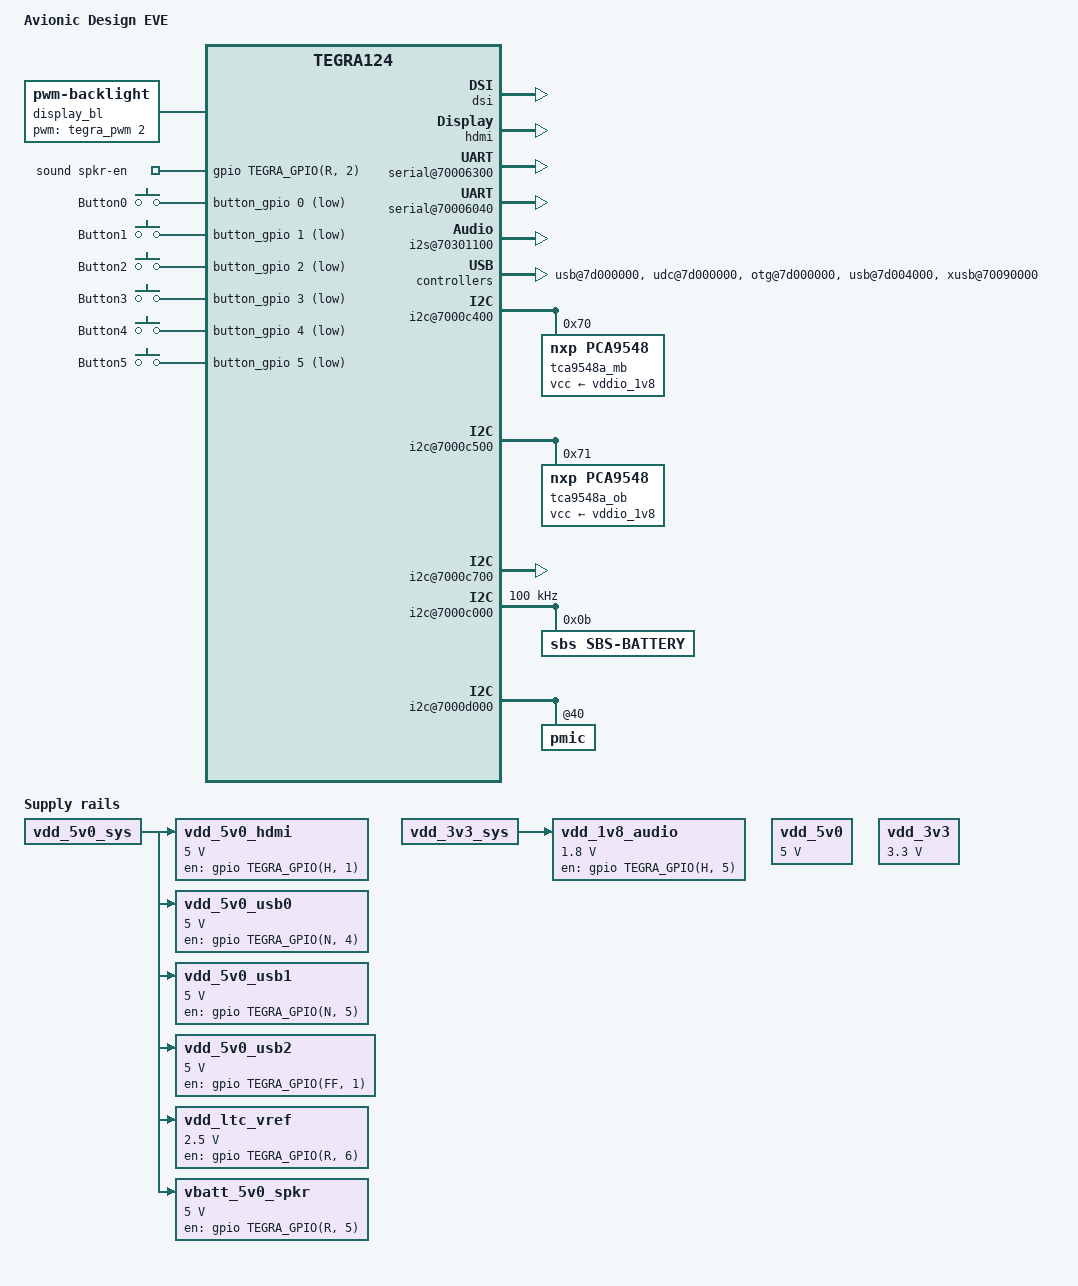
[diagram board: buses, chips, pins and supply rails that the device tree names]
/dts-v1/;

#include "tegra124-meerkat.dtsi"
#include "panel-tianma-tm057jdhp04-30.dtsi"

/ {
	model = "Avionic Design EVE";
	compatible = "ad,eve", "ad,meerkat", "nvidia,tegra124";
	nvidia,dtsfilename = __FILE__;

	aliases {
		i2c10 = &mbmux_0;
		i2c11 = &mbmux_1;
		i2c12 = &mbmux_2;
		i2c13 = &mbmux_3;
		i2c14 = &mbmux_4;
		i2c15 = &mbmux_5;
		i2c16 = &mbmux_6;
		i2c17 = &mbmux_7;
		i2c20 = &obmux_0;
		i2c21 = &obmux_1;
		i2c22 = &obmux_2;
		i2c23 = &obmux_3;
		i2c24 = &obmux_4;
		i2c25 = &obmux_5;
		i2c26 = &obmux_6;
		i2c27 = &obmux_7;
	};

	pinmux {
		common {
			/* display BL */
			ph2 {
				nvidia,function = "pwm2";
				nvidia,tristate = <TEGRA_PIN_DISABLE>;
			};
			/* display EN */
			ph3 {
				nvidia,pins = "ph3";
				nvidia,pull = <TEGRA_PIN_PULL_UP>;
				nvidia,tristate = <TEGRA_PIN_DISABLE>;
			};
			/* drdy gyro */
			pi2 {
				nvidia,enable-input = <TEGRA_PIN_ENABLE>;
				nvidia,pull = <TEGRA_PIN_PULL_DOWN>;
			};
			/* drdy accel */
			ph6 {
				nvidia,enable-input = <TEGRA_PIN_ENABLE>;
			};
			/* wm8903 ADCDAC */
			dap2_din_pa4 {
				nvidia,tristate = <TEGRA_PIN_DISABLE>;
			};
			/* wm8903 DACDAT */
			dap2_dout_pa5 {
				nvidia,tristate = <TEGRA_PIN_DISABLE>;
			};
			/* wm8903 LRC */
			dap2_fs_pa2 {
				nvidia,tristate = <TEGRA_PIN_DISABLE>;
			};
			/* wm8903 BCLK */
			dap2_sclk_pa3 {
				nvidia,tristate = <TEGRA_PIN_DISABLE>;
			};
			/* USB hub enable */
			usb_vbus_en1_pn5 {
				nvidia,open-drain = <TEGRA_PIN_DISABLE>;
			};
			/* uC ISP enable */
			dap1_dout_pn2 {
				nvidia,function = "safe";
			};
			/* uC reset */
			dap_mclk1_req_pee2 {
				nvidia,function = "safe";
			};

		};
	};

	display_bl: backlight {
		compatible = "pwm-backlight";
		pwms = <&tegra_pwm 2 1000000>;
		brightness-levels = <0 4 8 16 32 64 128 255>;
		default-brightness-level = <7>;
	};

	host1x {
		dc@54200000 {
			status = "okay";

			nvidia,dc-connection = "internal-lcd";
		};

		dsi {
			status = "okay";
			panel: panel-tianma-tm057jdhp04-30 {
				enable-gpios = <&gpio TEGRA_GPIO(H, 3) GPIO_ACTIVE_HIGH>,
						<&gpio TEGRA_GPIO(R, 4) GPIO_ACTIVE_HIGH>,
						<&gpio TEGRA_GPIO(J, 0) GPIO_ACTIVE_HIGH>;
				nvidia,dsi-te-gpio = <&gpio TEGRA_GPIO(J, 2) GPIO_ACTIVE_HIGH>;
				backlight = <&display_bl>;
			};
		};

		dc@54240000 {
			status = "okay";

			nvidia,dc-connection = "external-display";
			vdd_hdmi_5v0-supply = <&vdd_5v0_hdmi>;
		};

		hdmi {
			status = "okay";
			hdmi-display {
				disp-default-out {
					nvidia,out-parent-clk = "pll_d2";
				};
			};
		};
	};

	/* Debug UART */
	serial@70006300 {
		status = "okay";
	};

	/* uC UART */
	serial@70006040 {
		compatible = "nvidia,tegra114-hsuart", "nvidia,tegra30-hsuart";
		status = "okay";
	};

	ahub {
		status = "okay";
		i2s@70301100 {
			status = "okay";
		};
	};

	/* USB0: Recovery & OTG */
	usb@7d000000 {
		status = "okay";
		nvidia,port-otg;

		nvidia,remote-wakeup-supported;
		nvidia,power-off-on-suspend;

		nvidia,vbus-oc-map = <0x5>;
		usb_vbus-supply = <&vdd_5v0_usb0>;
	};

	udc@7d000000 {
		status = "okay";
		nvidia,port-otg;
		nvidia,has-host;

		usb_vbus-supply = <&vdd_5v0_usb0>;
	};

	otg@7d000000 {
		status = "okay";
		nvidia,ehci-device = <&tegra_ehci_0>;

		usb_vbus-supply = <&vdd_5v0_usb0>;
	};

	/* USB1 */
        usb@7d004000 {
		status = "okay";
		nvidia,power-off-on-suspend;
		usb_vbus-supply = <&vdd_5v0_usb1>;
        };

	/* USB2 */
	xusb@70090000 {
		nvidia,gpio_ss1_sata = <0>;
		nvidia,portmap = <(XUSB_MUX_USB2_P2 | XUSB_MUX_SS_P1)>;
		nvidia,ss_portmap = <XUSB_PADCTL_SS_PORTMAP(DISABLE, P2)>;
		nvidia,lane_owner = <2>; /* PCIe lane1 owner = USB3_SS port1 */
		nvidia,ulpicap = <0>;
		usb_vbus2-supply = <&vdd_5v0_usb2>;
		status = "okay";
	};

	/* I2C Gen2 */
	i2c@7000c400 {
		status = "okay";
		pull-ups-supply = <&vdd_3v3_sys>;

		tca9548a_mb: tca9548a@70 {
			compatible = "nxp,pca9548";
			#address-cells = <1>;
			#size-cells = <0>;
			reg = <0x70>;
			vcc-supply = <&vddio_1v8>;

			mbmux_0: port@0 {
				#address-cells = <1>;
				#size-cells = <0>;
				reg = <0>;
				pull-ups-supply = <&vdd_3v3_sys>;

				m24512: m24512@50 {
					compatible = "24c512";
					reg = <0x50>;
					pagesize = <128>;
				};
				m24512_id: m24512@58 {
					compatible = "24c01";
					reg = <0x58>;
					pagesize = <128>;
				};
			};

			mbmux_1: port@1 {
				#address-cells = <1>;
				#size-cells = <0>;
				reg = <1>;
				pull-ups-supply = <&vddio_1v8>;

				wm8903: wm8903@1a {
					compatible = "wlf,wm8903";
					reg = <0x1a>;
					interrupt-parent = <&gpio>;
					interrupts = <TEGRA_GPIO(U, 5) IRQ_TYPE_LEVEL_HIGH>;

					gpio-controller;
					#gpio-cells = <2>;

					micdet-cfg = <0>;
					micdet-delay = <100>;
					gpio-cfg = <0xffffffff
						    0xffffffff
						    0
						    0xffffffff
						    0xffffffff>;

					avdd-supply = <&vdd_1v8_audio>;
				};
			};

			mbmux_2: port@2 {
				#address-cells = <1>;
				#size-cells = <0>;
				reg = <2>;
				pull-ups-supply = <&vdd_5v0_sys>;

				ltc2617: ltc2617@10 {
					compatible = "linear,ltc2617";
					reg = <0x10>;
					vref-supply = <&vdd_ltc_vref>;
				};
			};

			mbmux_3: port@3 {
				#address-cells = <1>;
				#size-cells = <0>;
				reg = <3>;
			};

			mbmux_4: port@4 {
				#address-cells = <1>;
				#size-cells = <0>;
				reg = <4>;
			};

			mbmux_5: port@5 {
				#address-cells = <1>;
				#size-cells = <0>;
				reg = <5>;
			};

			mbmux_6: port@6 {
				#address-cells = <1>;
				#size-cells = <0>;
				reg = <6>;
			};

			mbmux_7: port@7 {
				#address-cells = <1>;
				#size-cells = <0>;
				reg = <7>;
			};
		};
	};

        /* I2C Cam / Optics */
        i2c@7000c500 {
                status = "okay";
		pull-ups-supply = <&vddio_1v8>;

                tca9548a_ob: tca9548a@71 {
                        compatible = "nxp,pca9548";
                        #address-cells = <1>;
                        #size-cells = <0>;
                        reg = <0x71>;
                        vcc-supply = <&vddio_1v8>;

			obmux_0: port@0 {
				#address-cells = <1>;
				#size-cells = <0>;
				reg = <0>;
				pull-ups-supply = <&vdd_3v3_sys>;

				optics_gpio: tca6424@23 {
					compatible = "ti,tca6424";
					reg = <0x23>;
					gpio-controller;
					#gpio-cells = <2>;
					interrupt-parent = <&gpio>;
					interrups = <TEGRA_GPIO(K, 4) IRQ_TYPE_LEVEL_LOW>;

					gpio-init-names = "optics_default";
					gpio-init-0 = <&optics_gpio_default>;
					optics_gpio_default: default {
						gpio-output-low = <8>; /* Disable dam buster */
					};
				};
			};

			obmux_1: port@1 {
				#address-cells = <1>;
				#size-cells = <0>;
				reg = <1>;
			};

			obmux_2: port@2 {
				#address-cells = <1>;
				#size-cells = <0>;
				reg = <2>;
			};

			obmux_3: port@3 {
				#address-cells = <1>;
				#size-cells = <0>;
				reg = <3>;
				pull-ups-supply = <&vdd_5v0_sys>;
			};

			obmux_4: port@4 {
				#address-cells = <1>;
				#size-cells = <0>;
				reg = <4>;
				pull-ups-supply = <&vdd_3v3_sys>;

				button_gpio: tca6408@20 {
					compatible = "ti,tca6408";
					reg = <0x20>;
					gpio-controller;
					#gpio-cells = <2>;
					interrupt-parent = <&gpio>;
					interrupts = <TEGRA_GPIO(K, 3) IRQ_TYPE_LEVEL_LOW>;
				};
			};

			obmux_5: port@5 {
				#address-cells = <1>;
				#size-cells = <0>;
				reg = <5>;
			};

			obmux_6: port@6 {
				#address-cells = <1>;
				#size-cells = <0>;
				reg = <6>;
			};

			obmux_7: port@7 {
				#address-cells = <1>;
				#size-cells = <0>;
				reg = <7>;
			};
		};
	};

	/* HDMI DDC */
	i2c@7000c700 {
		status = "okay";
		pull-ups-supply = <&vdd_3v3_sys>;
	};

	/* Gen1 I2C / SMBus */
	i2c@7000c000 {
		status = "okay";
		pull-ups-supply = <&vdd_3v3_sys>;
		clock-frequency = <100000>;

		sbs@0b {
			compatible = "sbs,sbs-battery";
			reg = <0xb>;
			sbs,i2c-retry-count = <2>;
			sbs,poll-retry-count = <10>;
		};
	};


	i2c@7000d000 {
		pmic@40 {
			ams,backup-battery-chargable;
			ams,battery-backup-charge-voltage = <AS3722_BBVOLT_3_0V>;
			ams,battery-backup-charge-current = <AS3722_BBCCUR_50UA>;
			ams,battery-backup-enable-bypass;
			ams,battery-backup-charge-mode = <AS3722_BBCMODE_ACT_STBY_OFF>;
		};
	};

	hda@70030000 {
		status = "okay";
	};

	avp-audio {
		compatible = "nvidia,tegra124-avp-audio", "nvidia,tegra30-avp-audio";
	};

	audio-offload {
		compatible = "nvidia,tegra-offload";
	};

	sound {
		compatible = "ad,tegra-audio-wm8903-medcom-wide",
			     "nvidia,tegra-audio-wm8903";
		nvidia,model = "Avionic Design Meerkat WM8903";

		nvidia,audio-routing =
			"Headphone Jack", "HPOUTR",
			"Headphone Jack", "HPOUTL",
			"Int Spk", "ROP",
			"Int Spk", "RON",
			"Int Spk", "LOP",
			"Int Spk", "LON",
			"Mic Jack", "MICBIAS",
			"IN1L", "Mic Jack";

		nvidia,spkr-en-gpios = <&gpio TEGRA_GPIO(R, 2) GPIO_ACTIVE_HIGH>;
		spkr-supply = <&vbatt_5v0_spkr>;
		nvidia,memory-clients = <14>;
		nvidia,i2s-controller = <&tegra_i2s1>;
		nvidia,i2s-is-master;
		nvidia,audio-codec = <&wm8903>;
	};

	gpio: gpio@6000d000 {
		gpio-init-names = "default";
		gpio-init-0 = <&gpio_default>;
		gpio_default: default {
			gpio-output-low = <TEGRA_GPIO(N, 2)>,	/* Disable UC_ISP_EN# */
					  <TEGRA_GPIO(EE, 2)>,	/* Disable UC_RESET# */
					  <TEGRA_GPIO(K, 5)>;	/* Disable TK_GPIO0 (Laser) */
		};
	};

	pwm-fan {
		status = "okay";
		pwms = <&tegra_pwm 0 40000>;
		cooling-levels = <0>, <48>, <128>, <255>;
	};

	gpio-keys {
		compatible = "gpio-keys";
		button0 {
			label = "Button0";
			linux,code = <KEY_F1>;
			debounce-interval = <5>;
			gpios = <&button_gpio 0 GPIO_ACTIVE_LOW>;
		};
		button1 {
			label = "Button1";
			linux,code = <KEY_F2>;
			debounce-interval = <5>;
			gpios = <&button_gpio 1 GPIO_ACTIVE_LOW>;
		};
		button2 {
			label = "Button2";
			linux,code = <KEY_F3>;
			debounce-interval = <5>;
			gpios = <&button_gpio 2 GPIO_ACTIVE_LOW>;
		};
		button3 {
			label = "Button3";
			linux,code = <KEY_F4>;
			debounce-interval = <5>;
			gpios = <&button_gpio 3 GPIO_ACTIVE_LOW>;
		};
		button4 {
			label = "Button4";
			linux,code = <KEY_F5>;
			debounce-interval = <5>;
			gpios = <&button_gpio 4 GPIO_ACTIVE_LOW>;
		};
		button5 {
			label = "Button5";
			linux,code = <KEY_F6>;
			debounce-interval = <5>;
			gpios = <&button_gpio 5 GPIO_ACTIVE_LOW>;
		};
	};

	regulators {
		vdd_5v0: regulator@100 {
			compatible = "regulator-fixed";
			reg = <100>;
			regulator-name = "+VDD_5V";
			regulator-min-microvolt = <5000000>;
			regulator-max-microvolt = <5000000>;
			regulator-always-on;
			regulator-boot-on;
		};

		vdd_3v3: regulator@101 {
			compatible = "regulator-fixed";
			reg = <101>;
			regulator-name = "+VDD_3V3";
			regulator-min-microvolt = <3300000>;
			regulator-max-microvolt = <3300000>;
			regulator-always-on;
			regulator-boot-on;
		};

		vdd_5v0_hdmi: regulator@102 {
			compatible = "regulator-fixed";
			reg = <102>;
			regulator-name = "+5V_HDMI";
			regulator-min-microvolt = <5000000>;
			regulator-max-microvolt = <5000000>;
			vin-supply = <&vdd_5v0_sys>;
			gpio = <&gpio TEGRA_GPIO(H, 1) GPIO_ACTIVE_HIGH>;
			enable-active-high;
		};

		vdd_5v0_usb0: regulator@103 {
			compatible = "regulator-fixed";
			reg = <103>;
			regulator-name = "+USB0_VCC";
			regulator-min-microvolt = <5000000>;
			regulator-max-microvolt = <5000000>;
			gpio = <&gpio TEGRA_GPIO(N, 4) GPIO_ACTIVE_HIGH>;
			enable-active-high;
			gpio-open-drain;
			vin-supply = <&vdd_5v0_sys>;
		};

		vdd_5v0_usb1: regulator@104 {
			compatible = "regulator-fixed";
			reg = <104>;
			regulator-name = "+USB1_VCC";
			regulator-min-microvolt = <5000000>;
			regulator-max-microvolt = <5000000>;
			vin-supply = <&vdd_5v0_sys>;
			gpio = <&gpio TEGRA_GPIO(N, 5) GPIO_ACTIVE_HIGH>;
			enable-active-high;
		};

                vdd_5v0_usb2: regulator@105 {
                        compatible = "regulator-fixed";
                        reg = <105>;
                        regulator-name = "+USB2_VCC";
                        regulator-min-microvolt = <5000000>;
                        regulator-max-microvolt = <5000000>;
                        gpio = <&gpio TEGRA_GPIO(FF, 1) GPIO_ACTIVE_HIGH>;
                        enable-active-high;
                        gpio-open-drain;
                        vin-supply = <&vdd_5v0_sys>;
                };

		vdd_ltc_vref: regulator@106 {
			compatible = "regulator-fixed";
			reg = <106>;
			regulator-name = "LTC26xx VREF";
			regulator-min-microvolt = <2500000>;
			regulator-max-microvolt = <2500000>;
			gpio = <&gpio TEGRA_GPIO(R, 6) GPIO_ACTIVE_HIGH>;
			enable-active-high;
			vin-supply = <&vdd_5v0_sys>;
		};

		vbatt_5v0_spkr: regulator@107 {
			compatible = "regulator-fixed";
			reg = <107>;
			regulator-name = "Speaker supply";
			regulator-min-microvolt = <5000000>;
			regulator-max-microvolt = <5000000>;
			gpio = <&gpio TEGRA_GPIO(R, 5) GPIO_ACTIVE_HIGH>;
			enable-active-high;
			vin-supply = <&vdd_5v0_sys>;
		};

		vdd_1v8_audio: regulator@108 {
			compatible = "regulator-fixed";
			reg = <108>;
			regulator-name = "Audio 1.8V supply";
			regulator-min-microvolt = <1800000>;
			regulator-max-microvolt = <1800000>;
			gpio = <&gpio TEGRA_GPIO(H, 5) GPIO_ACTIVE_HIGH>;
			enable-active-high;
			vin-supply = <&vdd_3v3_sys>;
		};
	};
};
